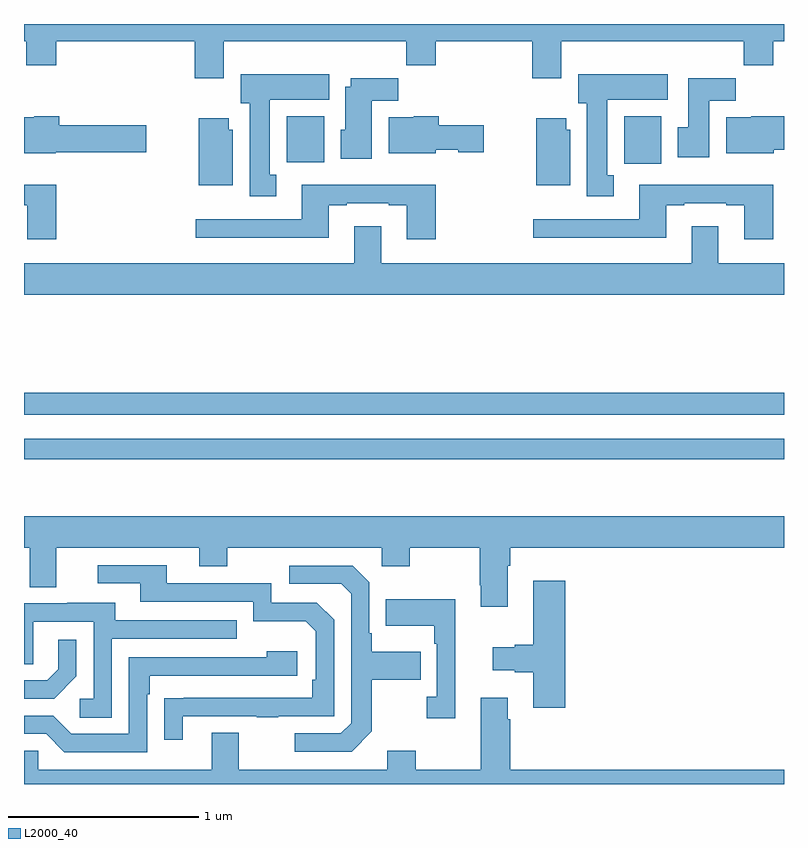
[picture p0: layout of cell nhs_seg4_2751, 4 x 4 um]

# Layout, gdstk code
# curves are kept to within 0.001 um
import gdstk
lib = gdstk.Library(unit=1e-6, precision=1e-09)
def R(c, l, rs):  # rectangles x0, y0, x1, y1
    for r in rs: c.add(gdstk.rectangle(r[:2], r[2:], *l))
def P(c, l, *ps):  # polygons
    for p in ps: c.add(gdstk.Polygon(p, *l))
L2000_40 = (2000, 40)

nhs_seg4_2751 = lib.new_cell('nhs_seg4_2751')
R(nhs_seg4_2751, L2000_40, [(255,806.61,259,806.718), (255,806.844,259,806.96), (258.159,808.164,258.355,808.414), (256.382,808.172,256.579,808.414)])
P(nhs_seg4_2751, L2000_40, [(258.787,808.684),(258.944,808.684),(258.944,808.808),(259,808.808),(259,808.9),(255,808.9),(255,808.808),(255.013,808.808),(255.013,808.684),(255.17,808.684),(255.17,808.808),(255.899,808.808),(255.899,808.614),(256.051,808.614),(256.051,808.808),(257.011,808.808),(257.011,808.684),(257.168,808.684),(257.168,808.808),(257.675,808.808),(257.675,808.614),(257.827,808.614),(257.827,808.808),(258.787,808.808)],
  [(256.327,808.106),(256.294,808.106),(256.294,808.502),(256.606,808.502),(256.606,808.636),(256.142,808.636),(256.142,808.482),(256.187,808.482),(256.187,807.993),(256.327,807.993)],
  [(258.103,808.105),(258.07,808.105),(258.07,808.502),(258.388,808.502),(258.388,808.636),(257.918,808.636),(257.918,808.482),(257.963,808.482),(257.963,807.993),(258.103,807.993)],
  [(256.831,808.496),(256.97,808.496),(256.97,808.615),(256.721,808.615),(256.721,808.57),(256.691,808.57),(256.691,808.344),(256.667,808.344),(256.667,808.19),(256.831,808.19)],
  [(258.607,808.496),(258.746,808.496),(258.746,808.615),(258.497,808.615),(258.497,808.356),(258.44,808.356),(258.44,808.2),(258.607,808.2)],
  [(257.166,808.238),(257.286,808.238),(257.286,808.226),(257.419,808.226),(257.419,808.368),(257.183,808.368),(257.183,808.414),(257.052,808.414),(257.052,808.408),(256.919,808.408),(256.919,808.22),(257.166,808.22)],
  [(258.946,808.238),(259,808.238),(259,808.414),(258.828,808.414),(258.828,808.408),(258.695,808.408),(258.695,808.22),(258.946,808.22)],
  [(255.168,808.226),(255.643,808.226),(255.643,808.368),(255.185,808.368),(255.185,808.414),(255.054,808.414),(255.054,808.408),(255,808.408),(255,808.22),(255.168,808.22)],
  [(256.099,808.344),(256.078,808.344),(256.078,808.405),(255.92,808.405),(255.92,808.052),(256.099,808.052)],
  [(257.875,808.344),(257.854,808.344),(257.854,808.405),(257.696,808.405),(257.696,808.052),(257.875,808.052)],
  [(258.944,808.054),(258.239,808.054),(258.239,807.873),(257.679,807.873),(257.679,807.776),(258.379,807.776),(258.379,807.945),(258.475,807.945),(258.475,807.957),(258.695,807.957),(258.695,807.945),(258.791,807.945),(258.791,807.768),(258.944,807.768)],
  [(257.168,808.054),(256.463,808.054),(256.463,807.873),(255.903,807.873),(255.903,807.776),(256.603,807.776),(256.603,807.945),(256.699,807.945),(256.699,807.957),(256.919,807.957),(256.919,807.945),(257.015,807.945),(257.015,807.768),(257.168,807.768)],
  [(255.17,808.054),(255,808.054),(255,807.945),(255.017,807.945),(255.017,807.768),(255.17,807.768)],
  [(259,807.64),(258.655,807.64),(258.655,807.835),(258.515,807.835),(258.515,807.64),(256.879,807.64),(256.879,807.835),(256.739,807.835),(256.739,807.64),(255,807.64),(255,807.476),(259,807.476)],
  [(257.545,806.048),(257.558,806.048),(257.558,806.144),(259,806.144),(259,806.308),(255,806.308),(255,806.144),(255.029,806.144),(255.029,805.936),(255.169,805.936),(255.169,806.144),(255.923,806.144),(255.923,806.045),(256.071,806.045),(256.071,806.144),(256.884,806.144),(256.884,806.045),(257.031,806.045),(257.031,806.144),(257.398,806.144),(257.398,805.945),(257.405,805.945),(257.405,805.833),(257.545,805.833)],
  [(255.835,805.257),(256.225,805.257),(256.225,805.252),(256.337,805.252),(256.337,805.257),(256.632,805.257),(256.632,805.764),(256.542,805.854),(256.302,805.854),(256.302,805.956),(255.751,805.956),(255.751,806.052),(255.387,806.052),(255.387,805.956),(255.611,805.956),(255.611,805.86),(256.206,805.86),(256.206,805.757),(256.483,805.757),(256.536,805.704),(256.536,805.45),(256.516,805.45),(256.516,805.353),(255.739,805.352),(255.739,805.134),(255.835,805.134)],
  [(256.831,805.177),(256.831,805.45),(257.087,805.45),(257.087,805.597),(256.831,805.597),(256.831,805.693),(256.818,805.693),(256.818,805.962),(256.731,806.049),(256.395,806.049),(256.395,805.953),(256.671,805.953),(256.722,805.902),(256.722,805.221),(256.668,805.167),(256.425,805.167),(256.425,805.071),(256.725,805.071)],
  [(257.849,805.969),(257.681,805.969),(257.681,805.634),(257.582,805.634),(257.582,805.621),(257.466,805.621),(257.466,805.499),(257.582,805.499),(257.582,805.487),(257.681,805.487),(257.681,805.302),(257.849,805.302)],
  [(257.27,805.873),(256.903,805.873),(256.903,805.733),(257.16,805.733),(257.16,805.637),(257.172,805.637),(257.172,805.358),(257.121,805.358),(257.121,805.245),(257.27,805.245)],
  [(255.462,805.665),(256.121,805.665),(256.121,805.761),(255.481,805.761),(255.481,805.855),(255.227,805.855),(255.227,805.851),(255,805.851),(255,805.531),(255.048,805.531),(255.048,805.755),(255.366,805.755),(255.366,805.35),(255.294,805.35),(255.294,805.249),(255.462,805.249)],
  [(255.276,805.466),(255.276,805.66),(255.179,805.66),(255.179,805.503),(255.122,805.446),(255,805.446),(255,805.35),(255.16,805.35)],
  [(255.648,805.373),(255.661,805.373),(255.661,805.47),(256.438,805.47),(256.438,805.6),(256.277,805.6),(256.277,805.566),(255.552,805.566),(255.552,805.164),(255.249,805.164),(255.153,805.26),(255,805.26),(255,805.164),(255.117,805.164),(255.213,805.068),(255.648,805.068)],
  [(259,804.976),(257.558,804.976),(257.558,805.241),(257.545,805.241),(257.545,805.354),(257.405,805.354),(257.405,804.976),(257.061,804.976),(257.061,805.075),(256.913,805.075),(256.913,804.976),(256.129,804.976),(256.129,805.171),(255.989,805.171),(255.989,804.976),(255.075,804.976),(255.075,805.074),(255,805.074),(255,804.9),(259,804.9)])

lib.write_gds('nhs_seg4_2751.gds')
